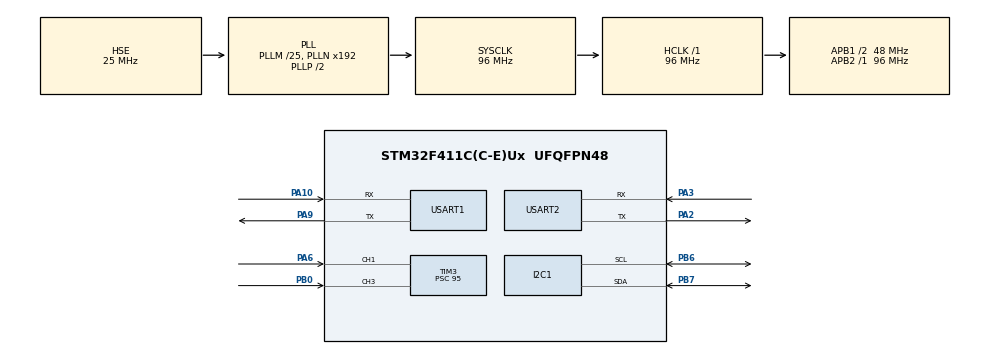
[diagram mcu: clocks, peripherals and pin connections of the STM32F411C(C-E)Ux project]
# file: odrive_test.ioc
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Mcu.Family=STM32F4
Mcu.Name=STM32F411C(C-E)Ux
Mcu.Package=UFQFPN48
NVIC.PriorityGroup=NVIC_PRIORITYGROUP_4
NVIC.TIM3_IRQn=true\:0\:0\:false\:false\:true\:true\:true\:true
NVIC.USART1_IRQn=true\:0\:0\:false\:false\:true\:true\:true\:true
NVIC.USART2_IRQn=true\:0\:0\:false\:false\:true\:true\:true\:true
PA10.Mode=Asynchronous
PA10.Signal=USART1_RX
PA13.Mode=Trace_Asynchronous_SW
PA13.Signal=SYS_JTMS-SWDIO
PA14.Mode=Trace_Asynchronous_SW
PA14.Signal=SYS_JTCK-SWCLK
PA2.Mode=Asynchronous
PA2.Signal=USART2_TX
PA3.Mode=Asynchronous
PA3.Signal=USART2_RX
PA6.Signal=S_TIM3_CH1
PA9.Mode=Asynchronous
PA9.Signal=USART1_TX
PB0.Signal=S_TIM3_CH3
PB3.Mode=Trace_Asynchronous_SW
PB3.Signal=SYS_JTDO-SWO
PB6.Mode=I2C
PB6.Signal=I2C1_SCL
PB7.Mode=I2C
PB7.Signal=I2C1_SDA
PH0\ -\ OSC_IN.Mode=HSE-External-Oscillator
PH0\ -\ OSC_IN.Signal=RCC_OSC_IN
PH1\ -\ OSC_OUT.Mode=HSE-External-Oscillator
PH1\ -\ OSC_OUT.Signal=RCC_OSC_OUT
ProjectManager.HeapSize=0x200
ProjectManager.StackSize=0x400
ProjectManager.TargetToolchain=STM32CubeIDE
RCC.48MHZClocksFreq_Value=48000000
RCC.AHBFreq_Value=96000000
RCC.APB1CLKDivider=RCC_HCLK_DIV2
RCC.APB1Freq_Value=48000000
RCC.APB1TimFreq_Value=96000000
RCC.APB2Freq_Value=96000000
RCC.APB2TimFreq_Value=96000000
RCC.CortexFreq_Value=96000000
RCC.HCLKFreq_Value=96000000
RCC.HSE_VALUE=25000000
RCC.HSI_VALUE=16000000
RCC.LSE_VALUE=32768
RCC.PLLM=25
RCC.PLLSourceVirtual=RCC_PLLSOURCE_HSE
RCC.SYSCLKFreq_VALUE=96000000
RCC.SYSCLKSource=RCC_SYSCLKSOURCE_PLLCLK
RCC.VCOOutputFreq_Value=192000000
SH.S_TIM3_CH1.0=TIM3_CH1,Input_Capture1_from_TI1
SH.S_TIM3_CH3.0=TIM3_CH3,Input_Capture3_from_TI3
TIM1.Period=3999
TIM1.Prescaler=0
TIM3.Channel-Input_Capture1_from_TI1=TIM_CHANNEL_1
TIM3.Channel-Input_Capture2_from_TI1_63=TIM_CHANNEL_2
TIM3.Channel-Input_Capture3_from_TI3=TIM_CHANNEL_3
TIM3.Channel-Input_Capture4_from_TI3_63=TIM_CHANNEL_4
TIM3.ICPolarity_CH2=TIM_INPUTCHANNELPOLARITY_FALLING
TIM3.ICPolarity_CH4=TIM_INPUTCHANNELPOLARITY_FALLING
TIM3.Prescaler=95
USART1.StopBits=STOPBITS_2
USART1.VirtualMode=VM_ASYNC
USART2.VirtualMode=VM_ASYNC
VP_TIM1_VS_ClockSourceINT.Mode=Internal
VP_TIM3_VS_indirect_ch1.Mode=Input_Capture2_from_TI1_63
VP_TIM3_VS_indirect_ch3.Mode=Input_Capture4_from_TI3_63
board=custom

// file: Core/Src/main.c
/* USER CODE BEGIN Header */
/**
  ******************************************************************************
  * @file           : main.c
  * @brief          : Main program body
  ******************************************************************************
  * @attention
  *
  * Copyright (c) 2024 STMicroelectronics.
  * All rights reserved.
  *
  * This software is licensed under terms that can be found in the LICENSE file
  * in the root directory of this software component.
  * If no LICENSE file comes with this software, it is provided AS-IS.
  *
  ******************************************************************************
  */
/* USER CODE END Header */
#include "main.h"

/* USER CODE BEGIN Includes */
#include "odrive_wrapper.h"

/* USER CODE END Includes */

I2C_HandleTypeDef hi2c1;

TIM_HandleTypeDef htim1;
TIM_HandleTypeDef htim3;

UART_HandleTypeDef huart1;
UART_HandleTypeDef huart2;

/* USER CODE BEGIN PV */

// comms test
/*
#define BUFFER_SIZE 5
uint8_t rxBuffer[BUFFER_SIZE];
uint8_t rxIndex = 0;
uint8_t char_in;
*/

// odrive obj
odrive_t odrive = {
		  // uart 1 is odrive, uart2 is st-link
		  .huart = &huart1
};

odrive_t laptop = {
		  // uart 1 is odrive, uart2 is st-link
		  .huart = &huart2
};

extern uint8_t rxBuffer; // Receive buffer. max length of expected returned values.
extern uint8_t rxIndex; // init index at zero.
extern uint8_t responseFinishedFlag;
extern uint8_t receivedData;
extern char transmitBuffer;

/* USER CODE END PV */

void SystemClock_Config(void);
static void MX_GPIO_Init(void);
static void MX_TIM3_Init(void);
static void MX_TIM1_Init(void);
static void MX_USART2_UART_Init(void);
static void MX_USART1_UART_Init(void);
static void MX_I2C1_Init(void);

int main(void)
{

  /* MCU Configuration--------------------------------------------------------*/

  /* Reset of all peripherals, Initializes the Flash interface and the Systick. */
  HAL_Init();

  /* Configure the system clock */
  SystemClock_Config();

  /* Initialize all configured peripherals */
  MX_GPIO_Init();
  MX_TIM3_Init();
  MX_TIM1_Init();
  MX_USART2_UART_Init();
  MX_USART1_UART_Init();
  MX_I2C1_Init();
  /* USER CODE BEGIN 2 */

  // start receiving
  start_receive_string(&odrive);

  HAL_UART_Transmit(&huart2, (uint8_t*)"\033c", strlen("\033c"), HAL_MAX_DELAY);

  //uint8_t* is_calib = ODRIVE_IsCalibrated(&odrive);
  //char calib_mess[50];
  //int calib_mess_len = sprintf(calib_mess, "Is_Calibrated: %s\r\n", is_calib);
  //HAL_UART_Transmit(&huart2, (uint8_t*)calib_mess, calib_mess_len, HAL_MAX_DELAY);

  ODRIVE_Reboot(&odrive);
  HAL_Delay(10000);

  // battery voltage readout
  uint8_t* voltage = ODRIVE_GetVBus(&odrive);
  char new_mess[50];
  int mess_len = sprintf(new_mess, "Received VBus: %s\r\n", voltage);
  HAL_UART_Transmit(&huart2, (uint8_t*)new_mess, mess_len, HAL_MAX_DELAY);

  ODRIVE_ClearErrors(&odrive);

  /* USER CODE END 2 */

  /* Infinite loop */
  while (1)
  {

    /* USER CODE BEGIN 3 */

    //HAL_Delay(2000);
    /*
    uint8_t* state = ODRIVE_GetFeedback(&odrive, 0);
    char new_mess1[50];
    int mess_len1 = sprintf(new_mess1, "Pos; Vel: %s \r\n", state);
    HAL_UART_Transmit(&huart2, (uint8_t*)new_mess1, mess_len1, HAL_MAX_DELAY);
	*/

	// basic position controls
    /*
	ODRIVE_SetPosition(&odrive, 0, 0.5, 500, 100);
	HAL_Delay(2000);
	ODRIVE_SetPosition(&odrive, 0, 0, 500, 100);
	HAL_Delay(2000);
    */

	// speed requests
	ODRIVE_SetVelocity(&odrive, 0, 0.9);
	ODRIVE_SetVelocity(&laptop, 0, 0.9);
	HAL_Delay(2000);
	ODRIVE_SetVelocity(&odrive, 0, 0.5);
	ODRIVE_SetVelocity(&laptop, 0, 0.5);
	HAL_Delay(2000);

  }
  /* USER CODE END 3 */
}

void SystemClock_Config(void)
{
  RCC_OscInitTypeDef RCC_OscInitStruct = {0};
  RCC_ClkInitTypeDef RCC_ClkInitStruct = {0};

  /** Configure the main internal regulator output voltage
  */
  __HAL_RCC_PWR_CLK_ENABLE();
  __HAL_PWR_VOLTAGESCALING_CONFIG(PWR_REGULATOR_VOLTAGE_SCALE1);

  /** Initializes the RCC Oscillators according to the specified parameters
  * in the RCC_OscInitTypeDef structure.
  */
  RCC_OscInitStruct.OscillatorType = RCC_OSCILLATORTYPE_HSE;
  RCC_OscInitStruct.HSEState = RCC_HSE_ON;
  RCC_OscInitStruct.PLL.PLLState = RCC_PLL_ON;
  RCC_OscInitStruct.PLL.PLLSource = RCC_PLLSOURCE_HSE;
  RCC_OscInitStruct.PLL.PLLM = 25;
  RCC_OscInitStruct.PLL.PLLN = 192;
  RCC_OscInitStruct.PLL.PLLP = RCC_PLLP_DIV2;
  RCC_OscInitStruct.PLL.PLLQ = 4;
  if (HAL_RCC_OscConfig(&RCC_OscInitStruct) != HAL_OK)
  {
    Error_Handler();
  }

  /** Initializes the CPU, AHB and APB buses clocks
  */
  RCC_ClkInitStruct.ClockType = RCC_CLOCKTYPE_HCLK|RCC_CLOCKTYPE_SYSCLK
                              |RCC_CLOCKTYPE_PCLK1|RCC_CLOCKTYPE_PCLK2;
  RCC_ClkInitStruct.SYSCLKSource = RCC_SYSCLKSOURCE_PLLCLK;
  RCC_ClkInitStruct.AHBCLKDivider = RCC_SYSCLK_DIV1;
  RCC_ClkInitStruct.APB1CLKDivider = RCC_HCLK_DIV2;
  RCC_ClkInitStruct.APB2CLKDivider = RCC_HCLK_DIV1;

  if (HAL_RCC_ClockConfig(&RCC_ClkInitStruct, FLASH_LATENCY_3) != HAL_OK)
  {
    Error_Handler();
  }
}

static void MX_I2C1_Init(void)
{

  hi2c1.Instance = I2C1;
  hi2c1.Init.ClockSpeed = 100000;
  hi2c1.Init.DutyCycle = I2C_DUTYCYCLE_2;
  hi2c1.Init.OwnAddress1 = 0;
  hi2c1.Init.AddressingMode = I2C_ADDRESSINGMODE_7BIT;
  hi2c1.Init.DualAddressMode = I2C_DUALADDRESS_DISABLE;
  hi2c1.Init.OwnAddress2 = 0;
  hi2c1.Init.GeneralCallMode = I2C_GENERALCALL_DISABLE;
  hi2c1.Init.NoStretchMode = I2C_NOSTRETCH_DISABLE;
  if (HAL_I2C_Init(&hi2c1) != HAL_OK)
  {
    Error_Handler();
  }

}

static void MX_TIM1_Init(void)
{

  TIM_ClockConfigTypeDef sClockSourceConfig = {0};
  TIM_MasterConfigTypeDef sMasterConfig = {0};

  htim1.Instance = TIM1;
  htim1.Init.Prescaler = 0;
  htim1.Init.CounterMode = TIM_COUNTERMODE_UP;
  htim1.Init.Period = 3999;
  htim1.Init.ClockDivision = TIM_CLOCKDIVISION_DIV1;
  htim1.Init.RepetitionCounter = 0;
  htim1.Init.AutoReloadPreload = TIM_AUTORELOAD_PRELOAD_DISABLE;
  if (HAL_TIM_Base_Init(&htim1) != HAL_OK)
  {
    Error_Handler();
  }
  sClockSourceConfig.ClockSource = TIM_CLOCKSOURCE_INTERNAL;
  if (HAL_TIM_ConfigClockSource(&htim1, &sClockSourceConfig) != HAL_OK)
  {
    Error_Handler();
  }
  sMasterConfig.MasterOutputTrigger = TIM_TRGO_RESET;
  sMasterConfig.MasterSlaveMode = TIM_MASTERSLAVEMODE_DISABLE;
  if (HAL_TIMEx_MasterConfigSynchronization(&htim1, &sMasterConfig) != HAL_OK)
  {
    Error_Handler();
  }

}

static void MX_TIM3_Init(void)
{

  TIM_MasterConfigTypeDef sMasterConfig = {0};
  TIM_IC_InitTypeDef sConfigIC = {0};

  htim3.Instance = TIM3;
  htim3.Init.Prescaler = 95;
  htim3.Init.CounterMode = TIM_COUNTERMODE_UP;
  htim3.Init.Period = 65535;
  htim3.Init.ClockDivision = TIM_CLOCKDIVISION_DIV1;
  htim3.Init.AutoReloadPreload = TIM_AUTORELOAD_PRELOAD_DISABLE;
  if (HAL_TIM_IC_Init(&htim3) != HAL_OK)
  {
    Error_Handler();
  }
  sMasterConfig.MasterOutputTrigger = TIM_TRGO_RESET;
  sMasterConfig.MasterSlaveMode = TIM_MASTERSLAVEMODE_DISABLE;
  if (HAL_TIMEx_MasterConfigSynchronization(&htim3, &sMasterConfig) != HAL_OK)
  {
    Error_Handler();
  }
  sConfigIC.ICPolarity = TIM_INPUTCHANNELPOLARITY_RISING;
  sConfigIC.ICSelection = TIM_ICSELECTION_DIRECTTI;
  sConfigIC.ICPrescaler = TIM_ICPSC_DIV1;
  sConfigIC.ICFilter = 0;
  if (HAL_TIM_IC_ConfigChannel(&htim3, &sConfigIC, TIM_CHANNEL_1) != HAL_OK)
  {
    Error_Handler();
  }
  sConfigIC.ICPolarity = TIM_INPUTCHANNELPOLARITY_FALLING;
  sConfigIC.ICSelection = TIM_ICSELECTION_INDIRECTTI;
  if (HAL_TIM_IC_ConfigChannel(&htim3, &sConfigIC, TIM_CHANNEL_2) != HAL_OK)
  {
    Error_Handler();
  }
  sConfigIC.ICPolarity = TIM_INPUTCHANNELPOLARITY_RISING;
  sConfigIC.ICSelection = TIM_ICSELECTION_DIRECTTI;
  if (HAL_TIM_IC_ConfigChannel(&htim3, &sConfigIC, TIM_CHANNEL_3) != HAL_OK)
  {
    Error_Handler();
  }
  sConfigIC.ICPolarity = TIM_INPUTCHANNELPOLARITY_FALLING;
  sConfigIC.ICSelection = TIM_ICSELECTION_INDIRECTTI;
  if (HAL_TIM_IC_ConfigChannel(&htim3, &sConfigIC, TIM_CHANNEL_4) != HAL_OK)
  {
    Error_Handler();
  }

}

static void MX_USART1_UART_Init(void)
{

  huart1.Instance = USART1;
  huart1.Init.BaudRate = 115200;
  huart1.Init.WordLength = UART_WORDLENGTH_8B;
  huart1.Init.StopBits = UART_STOPBITS_2;
  huart1.Init.Parity = UART_PARITY_NONE;
  huart1.Init.Mode = UART_MODE_TX_RX;
  huart1.Init.HwFlowCtl = UART_HWCONTROL_NONE;
  huart1.Init.OverSampling = UART_OVERSAMPLING_16;
  if (HAL_UART_Init(&huart1) != HAL_OK)
  {
    Error_Handler();
  }

}

static void MX_USART2_UART_Init(void)
{

  huart2.Instance = USART2;
  huart2.Init.BaudRate = 115200;
  huart2.Init.WordLength = UART_WORDLENGTH_8B;
  huart2.Init.StopBits = UART_STOPBITS_1;
  huart2.Init.Parity = UART_PARITY_NONE;
  huart2.Init.Mode = UART_MODE_TX_RX;
  huart2.Init.HwFlowCtl = UART_HWCONTROL_NONE;
  huart2.Init.OverSampling = UART_OVERSAMPLING_16;
  if (HAL_UART_Init(&huart2) != HAL_OK)
  {
    Error_Handler();
  }

}

static void MX_GPIO_Init(void)
{

  /* GPIO Ports Clock Enable */
  __HAL_RCC_GPIOH_CLK_ENABLE();
  __HAL_RCC_GPIOA_CLK_ENABLE();
  __HAL_RCC_GPIOB_CLK_ENABLE();

}

/* USER CODE BEGIN 4 */

void HAL_UART_RxCpltCallback(UART_HandleTypeDef *huart)
{
	ODRIVE_Receive_Callback(huart, &odrive);
}

/* USER CODE END 4 */

void Error_Handler(void)
{
  __disable_irq();
  while (1)
  {
  }
}
